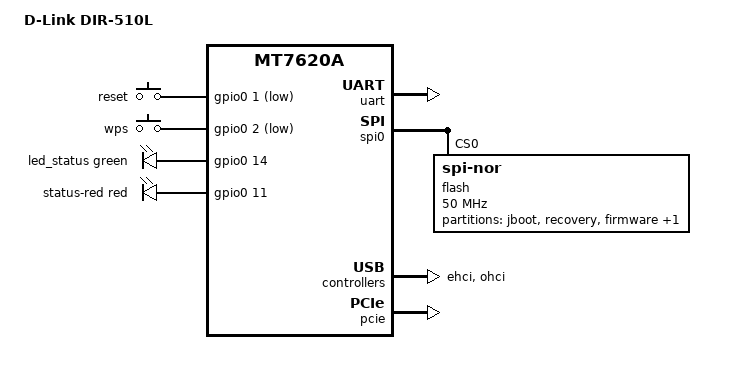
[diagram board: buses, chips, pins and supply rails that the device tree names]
// SPDX-License-Identifier: GPL-2.0-or-later OR MIT

#include "mt7620a.dtsi"

#include <dt-bindings/input/input.h>
#include <dt-bindings/leds/common.h>
#include <dt-bindings/gpio/gpio.h>
#include <dt-bindings/mtd/partitions/uimage.h>

/ {
	compatible = "dlink,dir-510l", "ralink,mt7620a-soc";
	model = "D-Link DIR-510L";

	aliases {
		led-boot = &led_status;
		led-failsafe = &led_status;
		led-running = &led_status;
		led-upgrade = &led_status;
	};

	chosen {
		bootargs = "console=ttyS1,57600";
	};

	keys {
		compatible = "gpio-keys";

		reset {
			label = "reset";
			gpios = <&gpio0 1 GPIO_ACTIVE_LOW>;
			linux,code = <KEY_RESTART>;
		};

		wps {
			label = "wps";
			gpios = <&gpio0 2 GPIO_ACTIVE_LOW>;
			linux,code = <KEY_WPS_BUTTON>;
		};
	};

	leds {
		compatible = "gpio-leds";

		led_status: status {
			function = LED_FUNCTION_STATUS;
			color = <LED_COLOR_ID_GREEN>;
			gpios = <&gpio0 14 GPIO_ACTIVE_HIGH>;
		};

		status-red {
			function = LED_FUNCTION_STATUS;
			color = <LED_COLOR_ID_RED>;
			gpios = <&gpio0 11 GPIO_ACTIVE_HIGH>;
		};
	};
};

&ethernet {
	mediatek,portmap = "llllw";
};

&uart {
	status = "okay";
};

&spi0 {
	status = "okay";

	flash@0 {
		compatible = "jedec,spi-nor";
		reg = <0>;
		spi-max-frequency = <50000000>;

		partitions {
			compatible = "fixed-partitions";
			#address-cells = <1>;
			#size-cells = <1>;

			partition@0 {
				label = "jboot";
				reg = <0x0 0x10000>;
				read-only;
			};

			partition@10000 {
				label = "recovery";
				reg = <0x10000 0x200000>;
				read-only;
			};

			partition@210000 {
				compatible = "openwrt,uimage", "denx,uimage";
				openwrt,ih-magic = <IH_MAGIC_OKLI>;
				openwrt,offset = <0x10000>;
				label = "firmware";
				reg = <0x210000 0xde0000>;
			};

			partition@ff0000 {
				label = "config";
				reg = <0xff0000 0x10000>;
				read-only;

				nvmem-layout {
					compatible = "fixed-layout";
					#address-cells = <1>;
					#size-cells = <1>;

					eeprom_config_e05d: eeprom@e05d {
						reg = <0xe05d 0x200>;
					};

					macaddr_config_e490: macaddr@e490 {
						compatible = "mac-base";
						reg = <0xe490 0x6>;
						#nvmem-cell-cells = <1>;
					};
				};
			};
		};
	};
};

&ehci {
	status = "okay";
};

&ohci {
	status = "okay";
};

&pcie {
	status = "okay";
};

&pcie0 {
	mt76x0e@0,0 {
		reg = <0x0000 0 0 0 0>;
		nvmem-cells = <&eeprom_config_e05d>, <&macaddr_config_e490 2>;
		nvmem-cell-names = "eeprom", "mac-address";
	};
};

&state_default {
	default {
		groups = "i2c", "uartf";
		function = "gpio";
	};
};
